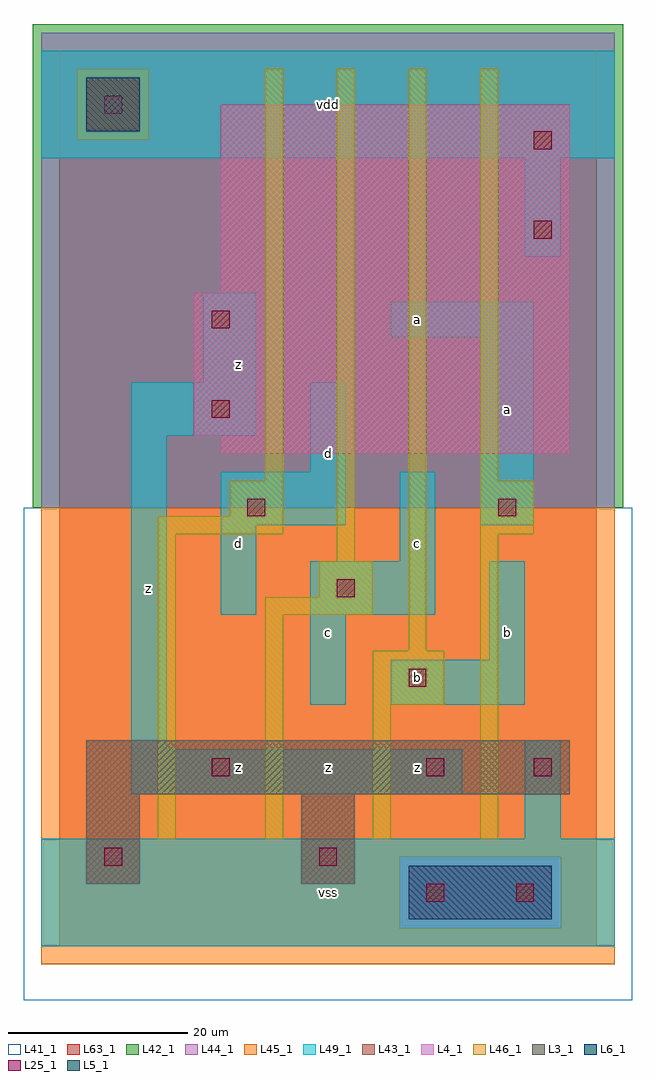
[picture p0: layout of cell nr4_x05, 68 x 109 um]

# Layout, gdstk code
import gdstk
lib = gdstk.Library(unit=1e-6, precision=1e-09)
def R(c, l, rs):  # rectangles x0, y0, x1, y1
    for r in rs: c.add(gdstk.rectangle(r[:2], r[2:], *l))
L3_1 = (3, 1)
L4_1 = (4, 1)
L5_1 = (5, 1)
L6_1 = (6, 1)
L25_1 = (25, 1)
L41_1 = (41, 1)
L42_1 = (42, 1)
L43_1 = (43, 1)
L44_1 = (44, 1)
L45_1 = (45, 1)
L46_1 = (46, 1)
L49_1 = (49, 1)
L63_1 = (63, 1)

nr4_x05 = lib.new_cell('nr4_x05')
R(nr4_x05, L3_1, [(3,7,9,17), (27,7,33,17), (3,17,57,23)])
R(nr4_x05, L4_1, [(18,55,57,57), (15,57,57,73), (18,73,57,94)])
R(nr4_x05, L5_1, [(3,91,9,97)])
R(nr4_x05, L6_1, [(39,3,55,9)])
R(nr4_x05, L25_1, [(41,5,43,7), (51,5,53,7), (5,9,7,11), (29,9,31,11), (17,19,19,21), (41,19,43,21), (53,19,55,21), (39,29,41,31), (31,39,33,41), (21,48,23,50), (49,48,51,50), (17,59,19,61), (17,69,19,71), (53,79,55,81), (53,89,55,91), (5,93,7,95)])
R(nr4_x05, L41_1, [(-4,-6,64,49), (-3,-3,63,49)])
R(nr4_x05, L42_1, [(-3,49,63,103)])
R(nr4_x05, L43_1, [(39,3,55,9), (3,7,9,17), (27,7,33,17), (3,17,57,23), (18,55,57,57), (15,57,57,73), (18,73,57,94), (3,91,9,97)])
R(nr4_x05, L44_1, [(38,2,56,10), (-2,49,62,90), (-2,90,2,98), (10,90,62,98), (-2,98,62,102)])
R(nr4_x05, L45_1, [(-2,-2,62,2), (-2,2,38,10), (56,2,62,10), (-2,10,62,49), (2,90,10,98)])
R(nr4_x05, L46_1, [(11,12,13,46), (23,12,25,37), (35,12,37,27), (47,12,49,46), (35,27,43,33), (39,33,41,98), (23,37,35,39), (29,39,35,43), (31,43,33,98), (11,46,25,48), (47,46,53,52), (19,48,25,52), (23,52,25,98), (47,52,49,98)])
R(nr4_x05, L49_1, [(-2,0,62,12), (52,12,56,23), (8,17,45,22), (8,22,12,57), (28,27,32,37), (37,27,52,32), (48,32,52,43), (18,37,22,47), (28,37,42,43), (38,43,42,53), (18,47,32,53), (47,47,53,68), (28,53,32,63), (8,57,22,63), (16,63,22,73), (37,68,53,72), (52,77,56,88), (-2,88,62,100)])
R(nr4_x05, L63_1, [(0,0,60,100)])
nr4_x05.add(gdstk.Label('z', (20,20), layer=49, texttype=1))
nr4_x05.add(gdstk.Label('z', (20,20), layer=49, texttype=1))
nr4_x05.add(gdstk.Label('z', (10,40), layer=49, texttype=1))
nr4_x05.add(gdstk.Label('z', (10,40), layer=49, texttype=1))
nr4_x05.add(gdstk.Label('d', (20,45), layer=49, texttype=1))
nr4_x05.add(gdstk.Label('d', (20,45), layer=49, texttype=1))
nr4_x05.add(gdstk.Label('z', (20,65), layer=49, texttype=1))
nr4_x05.add(gdstk.Label('z', (20,65), layer=49, texttype=1))
nr4_x05.add(gdstk.Label('vss', (30,6), layer=49, texttype=1))
nr4_x05.add(gdstk.Label('vss', (30,6), layer=49, texttype=1))
nr4_x05.add(gdstk.Label('z', (30,20), layer=49, texttype=1))
nr4_x05.add(gdstk.Label('z', (30,20), layer=49, texttype=1))
nr4_x05.add(gdstk.Label('c', (30,35), layer=49, texttype=1))
nr4_x05.add(gdstk.Label('c', (30,35), layer=49, texttype=1))
nr4_x05.add(gdstk.Label('d', (30,55), layer=49, texttype=1))
nr4_x05.add(gdstk.Label('d', (30,55), layer=49, texttype=1))
nr4_x05.add(gdstk.Label('vdd', (30,94), layer=49, texttype=1))
nr4_x05.add(gdstk.Label('vdd', (30,94), layer=49, texttype=1))
nr4_x05.add(gdstk.Label('z', (40,20), layer=49, texttype=1))
nr4_x05.add(gdstk.Label('z', (40,20), layer=49, texttype=1))
nr4_x05.add(gdstk.Label('b', (40,30), layer=49, texttype=1))
nr4_x05.add(gdstk.Label('b', (40,30), layer=49, texttype=1))
nr4_x05.add(gdstk.Label('c', (40,45), layer=49, texttype=1))
nr4_x05.add(gdstk.Label('c', (40,45), layer=49, texttype=1))
nr4_x05.add(gdstk.Label('a', (40,70), layer=49, texttype=1))
nr4_x05.add(gdstk.Label('a', (40,70), layer=49, texttype=1))
nr4_x05.add(gdstk.Label('b', (50,35), layer=49, texttype=1))
nr4_x05.add(gdstk.Label('b', (50,35), layer=49, texttype=1))
nr4_x05.add(gdstk.Label('a', (50,60), layer=49, texttype=1))
nr4_x05.add(gdstk.Label('a', (50,60), layer=49, texttype=1))

lib.write_gds('nr4_x05.gds')
